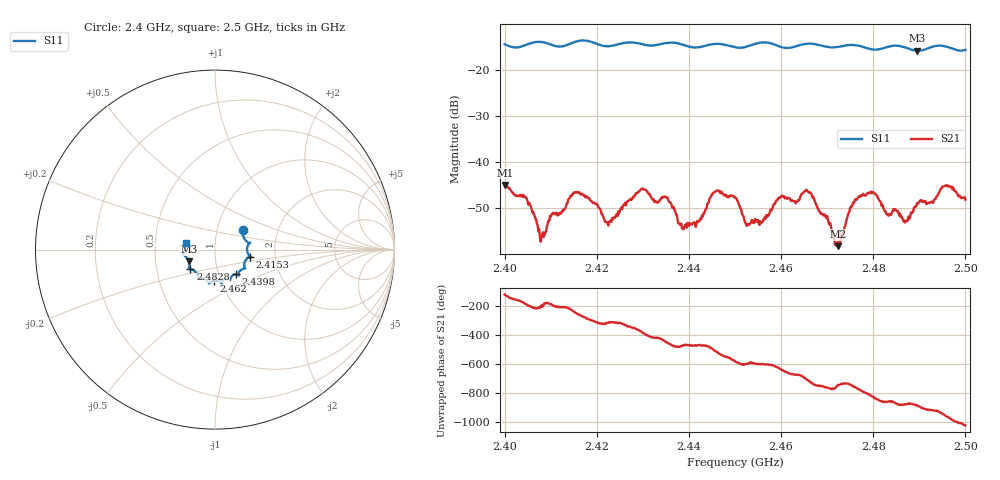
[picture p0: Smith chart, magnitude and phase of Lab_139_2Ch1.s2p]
# Hz S RI R 50
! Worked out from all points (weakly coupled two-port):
!   601 points, 2.4 GHz to 2.5 GHz, reference 50 ohm
!   highest |S21| = -44.94 dB at 2.4002 GHz (marker M1); lowest = -58.2 dB at 2.4723 GHz (marker M2)
!   lowest |S11| = -15.9 dB at 2.4895 GHz (marker M3), VSWR 1.38, Z = 37 - j5.02 ohm
!   |S11| at or under -10 dB: start of sweep to end of sweep
!   S12 and S22 are empty: the file has one direction only
!   S11 on the Smith chart (normalised r, x): 2.4 GHz: 1.33, +0.29; 2.4153 GHz: 1.48, -0.12; 2.4398 GHz: 1.21, -0.34; 2.462 GHz: 0.93, -0.33; 2.4828 GHz: 0.74, -0.17; 2.5 GHz: 0.72, +0.06
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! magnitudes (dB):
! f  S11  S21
! 2.4 GHz  -14.5  -45.0
! 2.4002 GHz  -14.6  -44.9
! 2.4045 GHz  -14.7  -47.5
! 2.4082 GHz  -14.0  -55.7
! 2.4153 GHz  -14.0  -46.5
! 2.4167 GHz  -13.7  -46.9
! 2.4223 GHz  -14.9  -53.1
! 2.4297 GHz  -14.4  -45.9
! 2.4333 GHz  -14.6  -48.7
! 2.4398 GHz  -15.0  -53.2
! 2.4458 GHz  -14.4  -46.3
! 2.45 GHz  -15.1  -47.7
! 2.4528 GHz  -14.9  -53.6
! 2.462 GHz  -15.2  -48.1
! 2.4667 GHz  -14.4  -47.2
! 2.4723 GHz  -15.1  -58.2
! 2.4773 GHz  -14.9  -47.2
! 2.4828 GHz  -15.1  -51.2
! 2.4833 GHz  -15.0  -51.6
! 2.4895 GHz  -15.9  -48.9
! 2.4955 GHz  -14.9  -45.1
! 2.5 GHz  -15.7  -48.1
